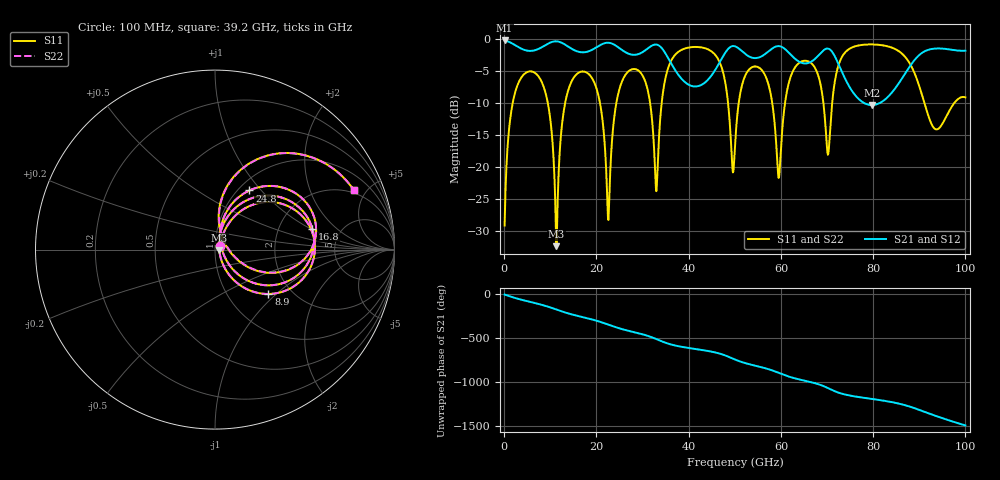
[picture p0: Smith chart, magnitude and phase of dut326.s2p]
! Touchstone file exported from HFSS 2026.1.0
!  File:  C:/ffzhzh/LocalFiles/Ansys_Project_Files/temp_train_TSV_RDL_326_1783702495_44652.aedt
!  Generated:  01:16:23 AM Jul 11, 2026
!  Design:  TSV_RDL
!  Project:  temp_train_TSV_RDL_326_1783702495_44652
! Variables:
!  h_bsmrdl = 2.56um
!  h_ox = 20um
!  h_rdl = 5um
!  h_sub = 77.63um
!  h_tmrdl = 2.56um
!  h_tsv = 77.63um
!  h_via = 3um
!  l_bsmrdl = 618.51um
!  l_sub = 5107.76um
!  l_tmrdl = 676.03um
!  m_sub = 200um
!  pitch = 56.87um
!  r_tsv = 10.91um
!  s_tmrdl = 10um
!  w_bsmrdl = 29.66um
!  w_sub = 500um
!  w_tmrdl = 19.71um
!  x_tsv_center1 = 685.885um
!  x_tsv_center2 = 1334.055um
!  x_tsv_center3 = 2029.795um
!  x_tsv_center4 = 2677.965um
!  x_tsv_center5 = 3373.705um
!  x_tsv_center6 = 4021.875um
# GHz S MA R 50.000000
! Terminal data exported
! Port[1] = TM_RDL1_1_T1
! Port[2] = TM_RDL5_1_T1
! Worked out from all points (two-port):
!   1000 points, 100 MHz to 100 GHz, reference 50 ohm
!   highest |S21| = -0.25 dB at 100 MHz (marker M1); lowest = -10.3 dB at 79.7 GHz (marker M2)
!   |S21| within 3 dB of the highest: start of sweep to 35.75 GHz; 47.05 GHz to 63.3 GHz (16.25 GHz wide, 29.4 % of centre)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
!   lowest |S11| = -32.4 dB at 11.3 GHz (marker M3), VSWR 1.05, Z = 52.4 - j0.475 ohm
!   |S11| at or under -10 dB: 9.46 GHz to 13.23 GHz (3.77 GHz wide, 33.2 % of centre); 20.77 GHz to 24.33 GHz (3.559 GHz wide, 15.8 % of centre); 91.1 GHz to 97.63 GHz (6.524 GHz wide, 6.91 % of centre)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
!   |S22| runs from -32.4 to -0.9 dB; largest |S21 - S12| = 3.4e-10
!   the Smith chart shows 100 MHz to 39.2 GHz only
!   S11 on the Smith chart (normalised r, x): 100 MHz: 1.06, +0.04; 8.9 GHz: 1.53, -0.89; 16.8 GHz: 3.10, +1.05; 24.8 GHz: 1.12, +0.87; 39.2 GHz: 1.80, +4.09
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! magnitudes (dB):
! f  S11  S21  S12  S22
! 100 MHz  -29.2  -0.2  -0.2  -29.2
! 2.8 GHz  -7.4  -1.2  -1.2  -7.4
! 8.9 GHz  -8.3  -1.0  -1.0  -8.3
! 11.3 GHz  -32.4  -0.4  -0.4  -32.4
! 13.3 GHz  -9.7  -0.9  -0.9  -9.7
! 16.8 GHz  -5.1  -2.1  -2.1  -5.1
! 22.6 GHz  -28.3  -0.6  -0.6  -28.3
! 24.8 GHz  -8.4  -1.4  -1.4  -8.4
! 29.8 GHz  -5.5  -2.2  -2.2  -5.5
! 33.4 GHz  -17.8  -1.0  -1.0  -17.7
! 39.2 GHz  -1.5  -6.8  -6.8  -1.5
! 46.4 GHz  -3.2  -4.1  -4.1  -3.2
! 50.1 GHz  -16.1  -1.2  -1.2  -16.1
! 55 GHz  -4.4  -3.0  -3.0  -4.4
! 59.6 GHz  -21.6  -1.1  -1.1  -21.4
! 66.7 GHz  -3.9  -3.5  -3.5  -3.9
! 70.2 GHz  -18.1  -1.5  -1.5  -18.3
! 73 GHz  -3.2  -4.8  -4.8  -3.2
! 79.7 GHz  -0.9  -10.3  -10.3  -0.9
! 83.4 GHz  -1.2  -8.9  -8.9  -1.2
! 93.4 GHz  -14.1  -1.5  -1.5  -14.0
! 100 GHz  -9.1  -1.8  -1.8  -9.1
